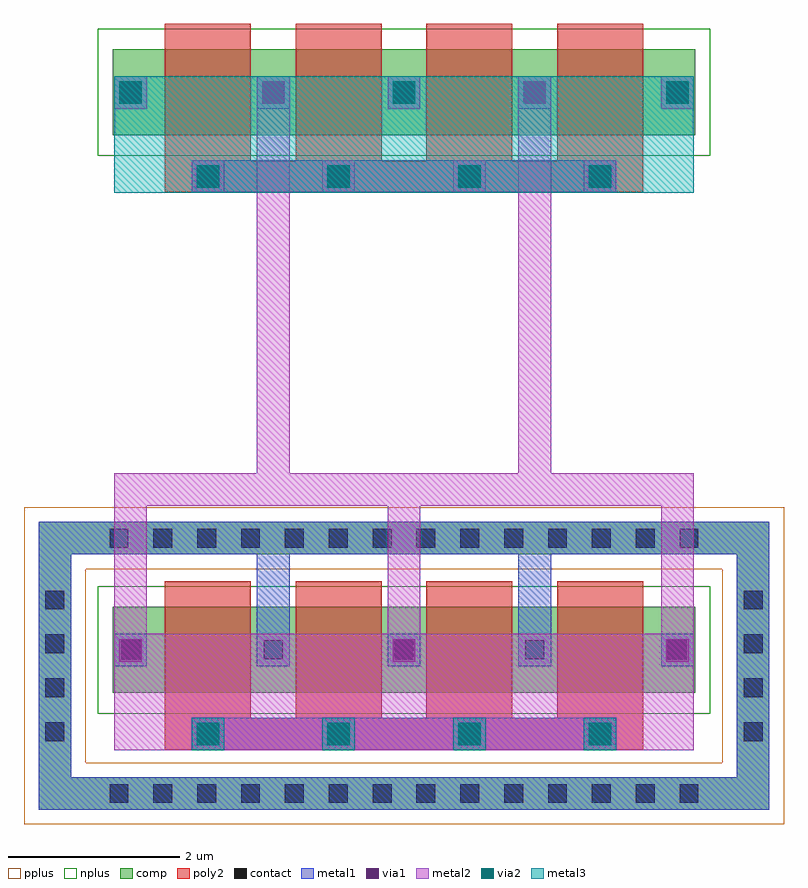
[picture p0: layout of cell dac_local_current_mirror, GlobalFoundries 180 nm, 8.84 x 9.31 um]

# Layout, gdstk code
import gdstk
lib = gdstk.Library(unit=1e-6, precision=5e-09)
def R(c, l, rs):  # rectangles x0, y0, x1, y1
    for r in rs: c.add(gdstk.rectangle(r[:2], r[2:], *l))
def A(c, l, x, y, w, h, nx, ny, dx, dy):  # array of equal rectangles
    R(c, l, [(x+i*dx, y+j*dy, x+i*dx+w, y+j*dy+h) for i in range(nx) for j in range(ny)])
def P(c, l, *ps):  # polygons
    for p in ps: c.add(gdstk.Polygon(p, *l))
comp = (22, 0)
poly2 = (30, 0)
pplus = (31, 0)
nplus = (32, 0)
contact = (33, 0)
metal1 = (34, 0)
via1 = (35, 0)
metal2 = (36, 0)
via2 = (38, 0)
metal3 = (42, 0)

nfet_3 = lib.new_cell('nfet$3')
R(nfet_3, comp, [(-0.42,0,0,1), (0,0,5.94,1), (5.94,0,6.36,1)])
P(nfet_3, comp, [(-1.28,-1.36),(-1.28,-0.98),(6.84,-0.98),(6.84,1.61),(-0.9,1.61),(-0.9,-0.98),(-1.28,-0.98),(-1.28,1.99),(7.22,1.99),(7.22,-1.36)])
A(nfet_3, poly2, 0.19, -0.66, 1, 0.36, 4, 1, 1.52, 0)
A(nfet_3, poly2, 0.19, -0.3, 1, 1.6, 4, 1, 1.52, 0)
P(nfet_3, pplus, [(-1.45,-1.53),(-1.45,-0.81),(6.67,-0.81),(6.67,1.44),(-0.73,1.44),(-0.73,-0.81),(-1.45,-0.81),(-1.45,2.16),(7.39,2.16),(7.39,-1.53)])
R(nfet_3, nplus, [(-0.59,-0.24,6.53,1.24)])
A(nfet_3, contact, -0.455, -1.28, 0.22, 0.22, 14, 2, 0.51, 2.97)
A(nfet_3, contact, 0.58, -0.59, 0.22, 0.22, 4, 1, 1.52, 0)
A(nfet_3, contact, -1.2, -0.56, 0.22, 0.22, 1, 4, 0, 0.51)
A(nfet_3, contact, 6.92, -0.56, 0.22, 0.22, 1, 4, 0, 0.51)
A(nfet_3, contact, 1.34, 0.39, 0.22, 0.22, 3, 1, 1.52, 0)
R(nfet_3, contact, [(-0.32,0.39,-0.1,0.61), (6.04,0.39,6.26,0.61)])
A(nfet_3, metal1, 0.5, -0.67, 0.38, 0.38, 4, 1, 1.52, 0)
A(nfet_3, metal1, 1.26, 0.31, 0.38, 0.38, 3, 1, 1.52, 0)
R(nfet_3, metal1, [(-0.4,0.31,-0.02,0.69), (5.96,0.31,6.34,0.69)])
P(nfet_3, metal1, [(-1.28,-1.36),(-1.28,-0.98),(6.84,-0.98),(6.84,1.61),(-0.9,1.61),(-0.9,-0.98),(-1.28,-0.98),(-1.28,1.99),(7.22,1.99),(7.22,-1.36)])

nfet_1_1 = lib.new_cell('nfet$1$1')
R(nfet_1_1, comp, [(-0.42,0,0,1), (0,0,5.94,1), (5.94,0,6.36,1)])
A(nfet_1_1, poly2, 0.19, -0.66, 1, 0.36, 4, 1, 1.52, 0)
A(nfet_1_1, poly2, 0.19, -0.3, 1, 1.6, 4, 1, 1.52, 0)
R(nfet_1_1, nplus, [(-0.59,-0.24,6.53,1.24)])
A(nfet_1_1, contact, 0.58, -0.59, 0.22, 0.22, 4, 1, 1.52, 0)
A(nfet_1_1, contact, 1.34, 0.39, 0.22, 0.22, 3, 1, 1.52, 0)
R(nfet_1_1, contact, [(-0.32,0.39,-0.1,0.61), (6.04,0.39,6.26,0.61)])
A(nfet_1_1, metal1, 0.5, -0.67, 0.38, 0.38, 4, 1, 1.52, 0)
A(nfet_1_1, metal1, 1.26, 0.31, 0.38, 0.38, 3, 1, 1.52, 0)
R(nfet_1_1, metal1, [(-0.4,0.31,-0.02,0.69), (5.96,0.31,6.34,0.69)])

dac_local_current_mirror = lib.new_cell('dac_local_current_mirror')
R(dac_local_current_mirror, poly2, [(145.805,-49,151.37,-48.64), (146.115,-49,151.055,-48.63), (145.805,-42.515,151.365,-42.155)])
R(dac_local_current_mirror, metal1, [(146.115,-49.01,151.055,-48.63), (146.875,-48.03,147.255,-46.355), (149.915,-48.03,150.295,-46.355), (146.115,-42.525,151.055,-42.145)])
A(dac_local_current_mirror, via1, 146.175, -48.95, 0.26, 0.26, 4, 2, 1.52, 6.485)
A(dac_local_current_mirror, via1, 145.275, -47.975, 0.26, 0.26, 3, 1, 3.18, 0)
R(dac_local_current_mirror, via1, [(145.275,-41.485,145.535,-41.225), (145.275,-41.485,145.535,-41.225), (146.935,-41.485,147.195,-41.225), (148.455,-41.485,148.715,-41.225), (148.455,-41.485,148.715,-41.225), (149.975,-41.485,150.235,-41.225), (151.635,-41.485,151.895,-41.225)])
A(dac_local_current_mirror, metal2, 146.115, -49.01, 0.38, 0.38, 4, 2, 1.52, 6.485)
A(dac_local_current_mirror, metal2, 145.215, -48.03, 0.38, 2.245, 3, 1, 3.18, 0)
A(dac_local_current_mirror, metal2, 145.215, -41.545, 0.38, 0.38, 3, 1, 3.18, 0)
R(dac_local_current_mirror, metal2, [(145.215,-49.01,151.955,-47.65), (145.215,-46.165,151.955,-45.785), (146.875,-46.165,147.255,-41.165), (149.915,-46.165,150.295,-41.165)])
A(dac_local_current_mirror, via2, 146.175, -48.95, 0.26, 0.26, 4, 2, 1.52, 6.485)
A(dac_local_current_mirror, via2, 145.275, -41.485, 0.26, 0.26, 3, 1, 3.18, 0)
A(dac_local_current_mirror, metal3, 146.115, -49.01, 0.38, 0.38, 4, 2, 1.52, 6.485)
R(dac_local_current_mirror, metal3, [(145.215,-42.525,151.955,-41.165), (145.215,-41.545,151.955,-41.165)])
dac_local_current_mirror.add(gdstk.Reference(nfet_3, (145.615,-48.34)))
dac_local_current_mirror.add(gdstk.Reference(nfet_1_1, (145.615,-41.855)))

lib.write_gds('dac_local_current_mirror.gds')
